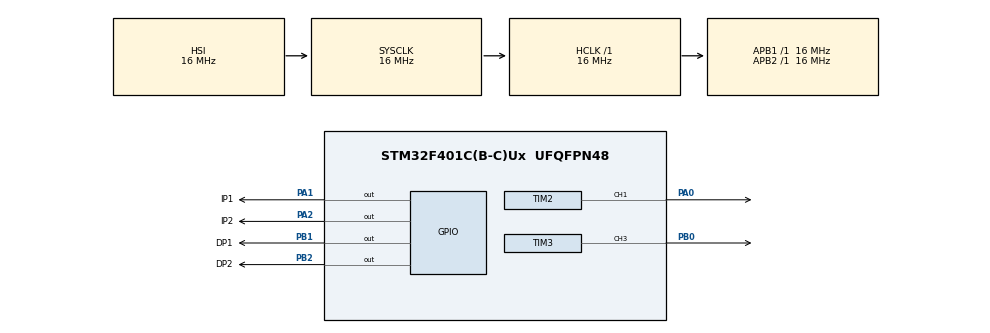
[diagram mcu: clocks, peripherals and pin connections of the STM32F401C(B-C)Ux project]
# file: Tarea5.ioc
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Mcu.Family=STM32F4
Mcu.Name=STM32F401C(B-C)Ux
Mcu.Package=UFQFPN48
NVIC.PriorityGroup=NVIC_PRIORITYGROUP_4
PA0-WKUP.Signal=S_TIM2_CH1_ETR
PA1.GPIO_Label=IP1
PA1.Signal=GPIO_Output
PA2.GPIO_Label=IP2
PA2.Signal=GPIO_Output
PB0.Signal=S_TIM3_CH3
PB1.GPIO_Label=DP1
PB1.Signal=GPIO_Output
PB2.GPIO_Label=DP2
PB2.Signal=GPIO_Output
ProjectManager.HeapSize=0x200
ProjectManager.StackSize=0x400
ProjectManager.TargetToolchain=CMake
RCC.AHBFreq_Value=16000000
RCC.APB1Freq_Value=16000000
RCC.APB2Freq_Value=16000000
RCC.CortexFreq_Value=16000000
RCC.HSE_VALUE=25000000
RCC.HSI_VALUE=16000000
RCC.LSE_VALUE=32768
RCC.SYSCLKFreq_VALUE=16000000
RCC.VCOOutputFreq_Value=192000000
SH.S_TIM2_CH1_ETR.0=TIM2_CH1,PWM Generation1 CH1
SH.S_TIM3_CH3.0=TIM3_CH3,PWM Generation3 CH3
TIM2.Channel-PWM\ Generation1\ CH1=TIM_CHANNEL_1
TIM2.Period=999
TIM2.Prescaler=83
TIM3.Channel-PWM\ Generation3\ CH3=TIM_CHANNEL_3
TIM3.Period=999
board=custom

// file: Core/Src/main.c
/* USER CODE BEGIN Header */
/**
  ******************************************************************************
  * @file           : main.c
  * @brief          : Main program body
  ******************************************************************************
  * @attention
  *
  * Copyright (c) 2026 STMicroelectronics.
  * All rights reserved.
  *
  * This software is licensed under terms that can be found in the LICENSE file
  * in the root directory of this software component.
  * If no LICENSE file comes with this software, it is provided AS-IS.
  *
  ******************************************************************************
  */
/* USER CODE END Header */
#include "main.h"

TIM_HandleTypeDef htim2;
TIM_HandleTypeDef htim3;

void SystemClock_Config(void);
static void MX_GPIO_Init(void);
static void MX_TIM2_Init(void);
static void MX_TIM3_Init(void);

/* USER CODE BEGIN 0 */
#define VELOCIDAD_MAXIMA 750
#define VELOCIDAD_GIRO 650
#define PASO_ACELERACION 50
#define TIEMPO_ACELERACION 20

// Configurar direccion de los motores
void direccionMotores(int izquierda, int derecha)
{
    // Motor izquierdo
    if(izquierda == 1)
    {
        HAL_GPIO_WritePin(GPIOA, GPIO_PIN_1, GPIO_PIN_SET);
        HAL_GPIO_WritePin(GPIOA, GPIO_PIN_2, GPIO_PIN_RESET);
    }
    else if(izquierda == -1)
    {
        HAL_GPIO_WritePin(GPIOA, GPIO_PIN_1, GPIO_PIN_RESET);
        HAL_GPIO_WritePin(GPIOA, GPIO_PIN_2, GPIO_PIN_SET);
    }
    else
    {
        HAL_GPIO_WritePin(GPIOA, GPIO_PIN_1 | GPIO_PIN_2, GPIO_PIN_RESET);
    }

    // Motor derecho
    if(derecha == 1)
    {
        HAL_GPIO_WritePin(GPIOB, GPIO_PIN_2, GPIO_PIN_SET);
        HAL_GPIO_WritePin(GPIOB, GPIO_PIN_1, GPIO_PIN_RESET);
    }
    else if(derecha == -1)
    {
        HAL_GPIO_WritePin(GPIOB, GPIO_PIN_2, GPIO_PIN_RESET);
        HAL_GPIO_WritePin(GPIOB, GPIO_PIN_1, GPIO_PIN_SET);
    }
    else
    {
        HAL_GPIO_WritePin(GPIOB, GPIO_PIN_1 | GPIO_PIN_2, GPIO_PIN_RESET);
    }
}

// Aplicar velocidad a los dos motores
void aplicarVelocidad(int izquierda, int derecha)
{
    __HAL_TIM_SET_COMPARE(&htim2, TIM_CHANNEL_1, izquierda);
    __HAL_TIM_SET_COMPARE(&htim3, TIM_CHANNEL_3, derecha);
}

// Detener los motores
void detener(void)
{
    aplicarVelocidad(0, 0);
    direccionMotores(0, 0);
}

// Movimiento con aceleracion y desaceleracion
void movimiento(int izquierda, int derecha, int velocidad, int tiempo)
{
    int v;

    direccionMotores(izquierda, derecha);

    // Aceleracion progresiva
    for(v = 0; v <= velocidad; v += PASO_ACELERACION)
    {
        aplicarVelocidad(v, v);
        HAL_Delay(TIEMPO_ACELERACION);
    }

    aplicarVelocidad(velocidad, velocidad);

    // Mantener movimiento
    HAL_Delay(tiempo);

    // Desaceleracion progresiva
    for(v = velocidad; v >= 0; v -= PASO_ACELERACION)
    {
        aplicarVelocidad(v, v);
        HAL_Delay(TIEMPO_ACELERACION);
    }

    detener();
    HAL_Delay(300);
}

// Avanzar
void avanzar(int velocidad, int tiempo)
{
    movimiento(1, 1, velocidad, tiempo);
}

// Retroceder
void retroceder(int velocidad, int tiempo)
{
    movimiento(-1, -1, velocidad, tiempo);
}

// Giro a la derecha sobre su eje
void girarDerecha(int velocidad, int tiempo)
{
    movimiento(1, -1, velocidad, tiempo);
}

// Giro a la izquierda sobre su eje
void girarIzquierda(int velocidad, int tiempo)
{
    movimiento(-1, 1, velocidad, tiempo);
}

// SECUENCIA 1: Avance y retroceso
void secuencia1(void)
{
    avanzar(VELOCIDAD_MAXIMA, 2000);
    retroceder(VELOCIDAD_MAXIMA, 2000);
}

// SECUENCIA 2: Giros en ambos sentidos
void secuencia2(void)
{
    girarDerecha(VELOCIDAD_GIRO, 1000);
    girarIzquierda(VELOCIDAD_GIRO, 1000);
}

// SECUENCIA 3: Recorrido cuadrado
void secuencia3(void)
{
    int i;

    for(i = 0; i < 4; i++)
    {
        avanzar(VELOCIDAD_MAXIMA, 1800);
        girarDerecha(VELOCIDAD_GIRO, 600);
    }
}

// SECUENCIA 4: Recorrido en zigzag
void secuencia4(void)
{
    avanzar(VELOCIDAD_MAXIMA, 1500);
    girarDerecha(VELOCIDAD_GIRO, 450);

    avanzar(VELOCIDAD_MAXIMA, 1500);
    girarIzquierda(VELOCIDAD_GIRO, 900);

    avanzar(VELOCIDAD_MAXIMA, 1500);
    girarDerecha(VELOCIDAD_GIRO, 450);

    avanzar(VELOCIDAD_MAXIMA, 1500);

    detener();
}
/* USER CODE END 0 */

int main(void)
{

  /* MCU Configuration--------------------------------------------------------*/

  /* Reset of all peripherals, Initializes the Flash interface and the Systick. */
  HAL_Init();

  /* Configure the system clock */
  SystemClock_Config();

  /* Initialize all configured peripherals */
  MX_GPIO_Init();
  MX_TIM2_Init();
  MX_TIM3_Init();
  /* USER CODE BEGIN 2 */
HAL_TIM_PWM_Start(&htim2, TIM_CHANNEL_1);
HAL_TIM_PWM_Start(&htim3, TIM_CHANNEL_3);

detener();
  /* USER CODE END 2 */

  /* Infinite loop */
  while (1)
  {
// Secuencia 1
    secuencia1();
    HAL_Delay(1500);

    // Secuencia 2
    secuencia2();
    HAL_Delay(1500);

    // Secuencia 3
    secuencia3();
    HAL_Delay(1500);

    // Secuencia 4
    secuencia4();
    HAL_Delay(3000);
  }
}

void SystemClock_Config(void)
{
  RCC_OscInitTypeDef RCC_OscInitStruct = {0};
  RCC_ClkInitTypeDef RCC_ClkInitStruct = {0};

  /** Configure the main internal regulator output voltage
  */
  __HAL_RCC_PWR_CLK_ENABLE();
  __HAL_PWR_VOLTAGESCALING_CONFIG(PWR_REGULATOR_VOLTAGE_SCALE2);

  /** Initializes the RCC Oscillators according to the specified parameters
  * in the RCC_OscInitTypeDef structure.
  */
  RCC_OscInitStruct.OscillatorType = RCC_OSCILLATORTYPE_HSI;
  RCC_OscInitStruct.HSIState = RCC_HSI_ON;
  RCC_OscInitStruct.HSICalibrationValue = RCC_HSICALIBRATION_DEFAULT;
  RCC_OscInitStruct.PLL.PLLState = RCC_PLL_NONE;
  if (HAL_RCC_OscConfig(&RCC_OscInitStruct) != HAL_OK)
  {
    Error_Handler();
  }

  /** Initializes the CPU, AHB and APB buses clocks
  */
  RCC_ClkInitStruct.ClockType = RCC_CLOCKTYPE_HCLK|RCC_CLOCKTYPE_SYSCLK
                              |RCC_CLOCKTYPE_PCLK1|RCC_CLOCKTYPE_PCLK2;
  RCC_ClkInitStruct.SYSCLKSource = RCC_SYSCLKSOURCE_HSI;
  RCC_ClkInitStruct.AHBCLKDivider = RCC_SYSCLK_DIV1;
  RCC_ClkInitStruct.APB1CLKDivider = RCC_HCLK_DIV1;
  RCC_ClkInitStruct.APB2CLKDivider = RCC_HCLK_DIV1;

  if (HAL_RCC_ClockConfig(&RCC_ClkInitStruct, FLASH_LATENCY_0) != HAL_OK)
  {
    Error_Handler();
  }
}

static void MX_TIM2_Init(void)
{

  TIM_MasterConfigTypeDef sMasterConfig = {0};
  TIM_OC_InitTypeDef sConfigOC = {0};

  htim2.Instance = TIM2;
  htim2.Init.Prescaler = 83;
  htim2.Init.CounterMode = TIM_COUNTERMODE_UP;
  htim2.Init.Period = 999;
  htim2.Init.ClockDivision = TIM_CLOCKDIVISION_DIV1;
  htim2.Init.AutoReloadPreload = TIM_AUTORELOAD_PRELOAD_DISABLE;
  if (HAL_TIM_PWM_Init(&htim2) != HAL_OK)
  {
    Error_Handler();
  }
  sMasterConfig.MasterOutputTrigger = TIM_TRGO_RESET;
  sMasterConfig.MasterSlaveMode = TIM_MASTERSLAVEMODE_DISABLE;
  if (HAL_TIMEx_MasterConfigSynchronization(&htim2, &sMasterConfig) != HAL_OK)
  {
    Error_Handler();
  }
  sConfigOC.OCMode = TIM_OCMODE_PWM1;
  sConfigOC.Pulse = 0;
  sConfigOC.OCPolarity = TIM_OCPOLARITY_HIGH;
  sConfigOC.OCFastMode = TIM_OCFAST_DISABLE;
  if (HAL_TIM_PWM_ConfigChannel(&htim2, &sConfigOC, TIM_CHANNEL_1) != HAL_OK)
  {
    Error_Handler();
  }
  HAL_TIM_MspPostInit(&htim2);

}

static void MX_TIM3_Init(void)
{

  TIM_MasterConfigTypeDef sMasterConfig = {0};
  TIM_OC_InitTypeDef sConfigOC = {0};

  htim3.Instance = TIM3;
  htim3.Init.Prescaler = 0;
  htim3.Init.CounterMode = TIM_COUNTERMODE_UP;
  htim3.Init.Period = 999;
  htim3.Init.ClockDivision = TIM_CLOCKDIVISION_DIV1;
  htim3.Init.AutoReloadPreload = TIM_AUTORELOAD_PRELOAD_DISABLE;
  if (HAL_TIM_PWM_Init(&htim3) != HAL_OK)
  {
    Error_Handler();
  }
  sMasterConfig.MasterOutputTrigger = TIM_TRGO_RESET;
  sMasterConfig.MasterSlaveMode = TIM_MASTERSLAVEMODE_DISABLE;
  if (HAL_TIMEx_MasterConfigSynchronization(&htim3, &sMasterConfig) != HAL_OK)
  {
    Error_Handler();
  }
  sConfigOC.OCMode = TIM_OCMODE_PWM1;
  sConfigOC.Pulse = 0;
  sConfigOC.OCPolarity = TIM_OCPOLARITY_HIGH;
  sConfigOC.OCFastMode = TIM_OCFAST_DISABLE;
  if (HAL_TIM_PWM_ConfigChannel(&htim3, &sConfigOC, TIM_CHANNEL_3) != HAL_OK)
  {
    Error_Handler();
  }
  HAL_TIM_MspPostInit(&htim3);

}

static void MX_GPIO_Init(void)
{
  GPIO_InitTypeDef GPIO_InitStruct = {0};

  /* GPIO Ports Clock Enable */
  __HAL_RCC_GPIOA_CLK_ENABLE();
  __HAL_RCC_GPIOB_CLK_ENABLE();

  /*Configure GPIO pin Output Level */
  HAL_GPIO_WritePin(GPIOA, IP1_Pin|IP2_Pin, GPIO_PIN_RESET);

  /*Configure GPIO pin Output Level */
  HAL_GPIO_WritePin(GPIOB, DP1_Pin|DP2_Pin, GPIO_PIN_RESET);

  /*Configure GPIO pins : IP1_Pin IP2_Pin */
  GPIO_InitStruct.Pin = IP1_Pin|IP2_Pin;
  GPIO_InitStruct.Mode = GPIO_MODE_OUTPUT_PP;
  GPIO_InitStruct.Pull = GPIO_NOPULL;
  GPIO_InitStruct.Speed = GPIO_SPEED_FREQ_LOW;
  HAL_GPIO_Init(GPIOA, &GPIO_InitStruct);

  /*Configure GPIO pins : DP1_Pin DP2_Pin */
  GPIO_InitStruct.Pin = DP1_Pin|DP2_Pin;
  GPIO_InitStruct.Mode = GPIO_MODE_OUTPUT_PP;
  GPIO_InitStruct.Pull = GPIO_NOPULL;
  GPIO_InitStruct.Speed = GPIO_SPEED_FREQ_LOW;
  HAL_GPIO_Init(GPIOB, &GPIO_InitStruct);

}

void Error_Handler(void)
{
  __disable_irq();
  while (1)
  {
  }
}
